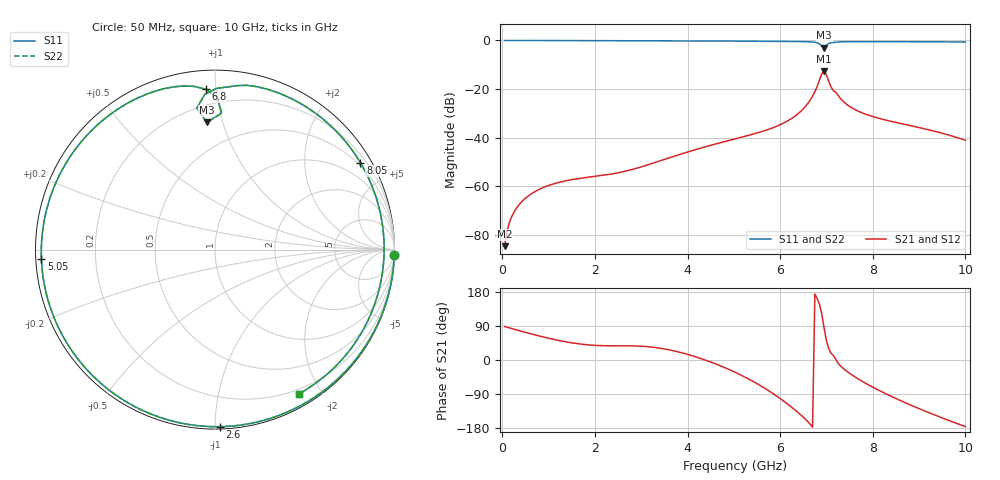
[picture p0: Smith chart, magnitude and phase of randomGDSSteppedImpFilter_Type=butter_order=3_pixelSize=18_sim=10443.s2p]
! freq	dB(S11)	phase(S11)	dB(S12)	phase(S12)
!  dB(S21)	phase(S21)	dB(S22)	phase(S22)
!S-par simulation data
#  GHz  S  DB  R 50
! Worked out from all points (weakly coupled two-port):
!   200 points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, 50 MHz to 10 GHz, reference 50 ohm
!   highest |S21| = -12.65 dB at 6.95 GHz (marker M1); lowest = -84.7 dB at 50 MHz (marker M2)
!   lowest |S11| = -3.0 dB at 6.95 GHz (marker M3), VSWR 5.90, Z = 15.5 + j44.3 ohm
!   |S11| at or under -10 dB: nowhere
!   |S22| runs from -3.0 to 0.0 dB; largest |S21 - S12| = 0
!   S11 on the Smith chart (normalised r, x): 50 MHz: 1, -65; 2.6 GHz: 0.01, -1.03; 5.05 GHz: 0.02, -0.03; 6.8 GHz: 0.10, +0.94; 8.05 GHz: 0.40, +3.58; 10 GHz: 0.15, -1.73
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0.05  -0.00 -1.8  -84.71 88.3  -84.71 88.3  -0.00 -1.8
0.3  -0.01 -10.4  -69.24 79.6  -69.24 79.6  -0.01 -10.4
0.6  -0.02 -20.7  -63.50 69.6  -63.50 69.6  -0.02 -20.7
1.1  -0.05 -37.8  -59.08 54.6  -59.08 54.6  -0.05 -37.8
1.75  -0.08 -59.8  -56.59 41.2  -56.59 41.2  -0.08 -59.8
2.6  -0.11 -88.3  -54.09 37.5  -54.09 37.5  -0.11 -88.4
3.4  -0.15 -115.5  -49.62 31.3  -49.62 31.3  -0.15 -115.5
4.3  -0.21 -147.5  -44.25 3.4  -44.25 3.4  -0.21 -147.6
5.05  -0.28 -176.8  -40.42 -33.7  -40.42 -33.7  -0.28 -176.8
5.9  -0.37 145.2  -35.54 -93.1  -35.54 -93.1  -0.37 145.2
6.4  -0.45 119.3  -29.96 -140.0  -29.96 -140.0  -0.45 119.3
6.7  -0.64 101.0  -22.95 -177.2  -22.95 -177.2  -0.64 100.9
6.8  -0.96 93.3  -18.90 162.7  -18.90 162.7  -0.97 93.3
6.9  -2.36 87.2  -13.70 121.2  -13.70 121.2  -2.38 87.2
6.95  -2.97 93.8  -12.65 84.3  -12.65 84.3  -3.00 93.8
7  -1.97 97.2  -14.30 50.8  -14.30 50.8  -1.99 97.3
7.1  -0.93 89.4  -19.17 17.7  -19.17 17.7  -0.93 89.5
7.3  -0.56 75.6  -23.85 -15.3  -23.85 -15.3  -0.57 75.7
8.05  -0.50 30.9  -31.63 -75.0  -31.63 -75.0  -0.50 30.9
8.35  -0.51 14.4  -33.11 -93.1  -33.11 -93.1  -0.51 14.4
9.05  -0.54 -20.5  -36.09 -130.9  -36.09 -130.9  -0.54 -20.5
10  -0.64 -59.9  -41.12 -175.9  -41.12 -175.9  -0.64 -59.9
